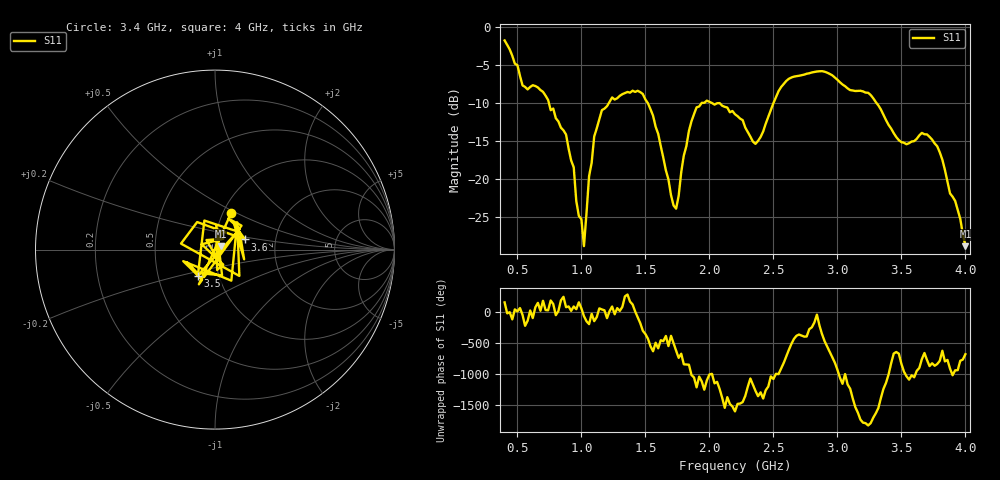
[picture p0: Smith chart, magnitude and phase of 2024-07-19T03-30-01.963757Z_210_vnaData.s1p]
!Created with skrf (http://scikit-rf.org).
# Hz S RI R 50.0
!freq ReS11 ImS11
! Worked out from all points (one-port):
!   181 points, 400 MHz to 4 GHz, reference 50 ohm
!   lowest |S11| = -28.9 dB at 4 GHz (marker M1), VSWR 1.07, Z = 53.1 + j1.99 ohm
!   |S11| at or under -10 dB: 745.2 MHz to 1.216 GHz (471.3 MHz wide, 48 % of centre); 2.014 GHz to 2.502 GHz (487.9 MHz wide, 21.6 % of centre); 3.303 GHz to end of sweep (the widest 3 of 4)
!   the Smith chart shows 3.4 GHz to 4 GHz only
!   S11 on the Smith chart (normalised r, x): 3.4 GHz: 1.09, +0.48; 3.5 GHz: 0.79, -0.24; 3.6 GHz: 1.39, +0.16; 4 GHz: 1.06, +0.04
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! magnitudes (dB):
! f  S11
! 400 MHz  -1.8
! 540 MHz  -7.7
! 700 MHz  -8.6
! 860 MHz  -13.6
! 940 MHz  -18.5
! 960 MHz  -23.0
! 1.02 GHz  -28.9
! 1.06 GHz  -19.7
! 1.1 GHz  -14.5
! 1.16 GHz  -11.0
! 1.3 GHz  -9.1
! 1.48 GHz  -8.9
! 1.6 GHz  -14.1
! 1.72 GHz  -23.5
! 1.76 GHz  -22.2
! 1.8 GHz  -17.0
! 1.9 GHz  -10.6
! 2.2 GHz  -11.5
! 2.36 GHz  -15.4
! 2.66 GHz  -6.6
! 3.1 GHz  -8.4
! 3.26 GHz  -9.0
! 3.4 GHz  -12.9
! 3.5 GHz  -15.2
! 3.56 GHz  -15.3
! 3.6 GHz  -15.1
! 3.78 GHz  -15.7
! 4 GHz  -28.9
